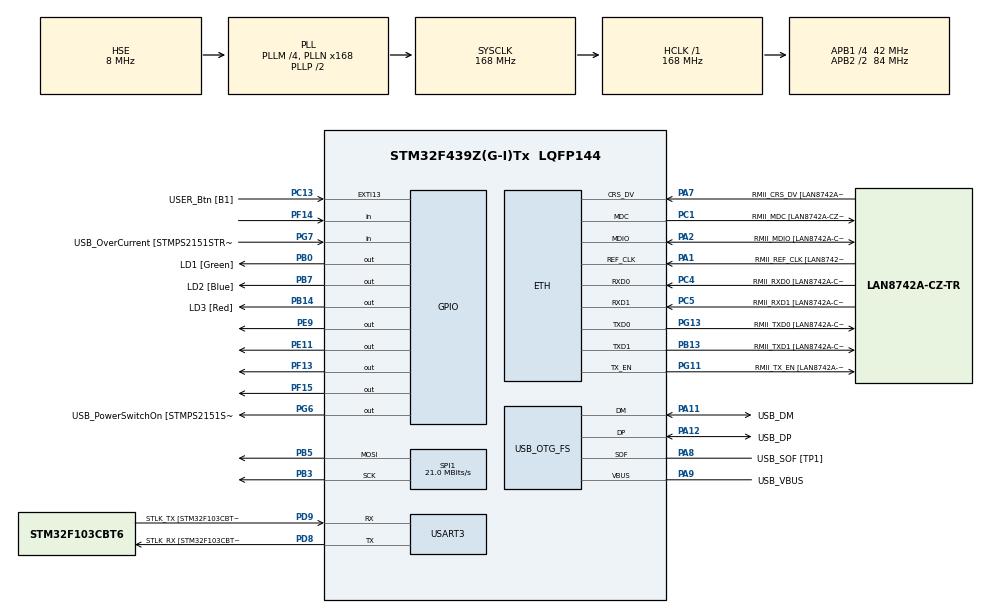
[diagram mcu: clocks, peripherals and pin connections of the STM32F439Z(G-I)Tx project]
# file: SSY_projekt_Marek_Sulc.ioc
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Dma.Request0=SPI1_TX
Dma.SPI1_TX.0.Direction=DMA_MEMORY_TO_PERIPH
Dma.SPI1_TX.0.FIFOMode=DMA_FIFOMODE_DISABLE
Dma.SPI1_TX.0.Instance=DMA2_Stream3
Dma.SPI1_TX.0.MemDataAlignment=DMA_MDATAALIGN_BYTE
Dma.SPI1_TX.0.MemInc=DMA_MINC_ENABLE
Dma.SPI1_TX.0.Mode=DMA_NORMAL
Dma.SPI1_TX.0.PeriphDataAlignment=DMA_PDATAALIGN_BYTE
Dma.SPI1_TX.0.PeriphInc=DMA_PINC_DISABLE
Dma.SPI1_TX.0.Priority=DMA_PRIORITY_LOW
ETH.MediaInterface=HAL_ETH_RMII_MODE
ETH.PHY_Name=LAN8742A_PHY_ADDRESS
ETH.PHY_Value=0
ETH.PhyAddress=0
LWIP.BSP.number=1
LWIP.DHCP_DOES_ARP_CHECK=0
LWIP.LWIP_DNS=1
LWIP.LWIP_RAW=1
LWIP.Version=v2.1.2_Cube
LWIP0.BSP.STBoard=false
LWIP0.BSP.api=BSP_COMPONENT_DRIVER
LWIP0.BSP.component=LAN8742
LWIP0.BSP.instance=LAN8742
LWIP0.BSP.name=Driver_PHY
LWIP0.BSP.semaphore=S_LAN8742
LWIP0.BSP.solution=LAN8742
Mcu.Family=STM32F4
Mcu.Name=STM32F439Z(G-I)Tx
Mcu.Package=LQFP144
NVIC.DMA2_Stream3_IRQn=true\:0\:0\:false\:false\:true\:false\:true\:true
NVIC.ETH_IRQn=true\:0\:0\:false\:false\:true\:true\:true\:true
NVIC.PriorityGroup=NVIC_PRIORITYGROUP_4
NVIC.USART3_IRQn=true\:0\:0\:false\:false\:true\:true\:true\:true
PA1.GPIO_Label=RMII_REF_CLK [LAN8742A-CZ-TR_REFCLK0]
PA1.Mode=RMII
PA1.Signal=ETH_REF_CLK
PA10.GPIO_Label=USB_ID
PA10.Signal=USB_OTG_FS_ID
PA11.GPIO_Label=USB_DM
PA11.Mode=Device_Only
PA11.Signal=USB_OTG_FS_DM
PA12.GPIO_Label=USB_DP
PA12.Mode=Device_Only
PA12.Signal=USB_OTG_FS_DP
PA13.GPIO_Label=TMS
PA13.Mode=Serial_Wire
PA13.Signal=SYS_JTMS-SWDIO
PA14.GPIO_Label=TCK
PA14.Mode=Serial_Wire
PA14.Signal=SYS_JTCK-SWCLK
PA2.GPIO_Label=RMII_MDIO [LAN8742A-CZ-TR_MDIO]
PA2.Mode=RMII
PA2.Signal=ETH_MDIO
PA7.GPIO_Label=RMII_CRS_DV [LAN8742A-CZ-TR_CRS_DV]
PA7.Mode=RMII
PA7.Signal=ETH_CRS_DV
PA8.GPIO_Label=USB_SOF [TP1]
PA8.Mode=Activate_SOF_FS
PA8.Signal=USB_OTG_FS_SOF
PA9.GPIO_Label=USB_VBUS
PA9.Mode=Activate_VBUS
PA9.Signal=USB_OTG_FS_VBUS
PB0.GPIO_Label=LD1 [Green]
PB0.Signal=GPIO_Output
PB13.GPIO_Label=RMII_TXD1 [LAN8742A-CZ-TR_TXD1]
PB13.Mode=RMII
PB13.Signal=ETH_TXD1
PB14.GPIO_Label=LD3 [Red]
PB14.Signal=GPIO_Output
PB3.Mode=TX_Only_Simplex_Unidirect_Master
PB3.Signal=SPI1_SCK
PB4.Signal=SPI1_MISO
PB5.Mode=TX_Only_Simplex_Unidirect_Master
PB5.Signal=SPI1_MOSI
PB7.GPIO_Label=LD2 [Blue]
PB7.Signal=GPIO_Output
PC1.GPIO_Label=RMII_MDC [LAN8742A-CZ-TR_MDC]
PC1.Mode=RMII
PC1.Signal=ETH_MDC
PC13.GPIO_Label=USER_Btn [B1]
PC13.Signal=GPXTI13
PC14/OSC32_IN.Signal=RCC_OSC32_IN
PC15/OSC32_OUT.Signal=RCC_OSC32_OUT
PC4.GPIO_Label=RMII_RXD0 [LAN8742A-CZ-TR_RXD0]
PC4.Mode=RMII
PC4.Signal=ETH_RXD0
PC5.GPIO_Label=RMII_RXD1 [LAN8742A-CZ-TR_RXD1]
PC5.Mode=RMII
PC5.Signal=ETH_RXD1
PD8.GPIO_Label=STLK_RX [STM32F103CBT6_PA3]
PD8.Mode=Asynchronous
PD8.Signal=USART3_TX
PD9.GPIO_Label=STLK_TX [STM32F103CBT6_PA2]
PD9.Mode=Asynchronous
PD9.Signal=USART3_RX
PE11.Signal=GPIO_Output
PE9.Signal=GPIO_Output
PF13.Signal=GPIO_Output
PF14.GPIO_PuPd=GPIO_PULLUP
PF14.Signal=GPIO_Input
PF15.Signal=GPIO_Output
PG11.GPIO_Label=RMII_TX_EN [LAN8742A-CZ-TR_TXEN]
PG11.Mode=RMII
PG11.Signal=ETH_TX_EN
PG13.GPIO_Label=RMII_TXD0 [LAN8742A-CZ-TR_TXD0]
PG13.Mode=RMII
PG13.Signal=ETH_TXD0
PG6.GPIO_Label=USB_PowerSwitchOn [STMPS2151STR_EN]
PG6.Signal=GPIO_Output
PG7.GPIO_Label=USB_OverCurrent [STMPS2151STR_FAULT]
PG7.Signal=GPIO_Input
PH0/OSC_IN.GPIO_Label=MCO [STM32F103CBT6_PA8]
PH0/OSC_IN.Mode=HSE-External-Oscillator
PH0/OSC_IN.Signal=RCC_OSC_IN
PH1/OSC_OUT.Mode=HSE-External-Oscillator
PH1/OSC_OUT.Signal=RCC_OSC_OUT
ProjectManager.HeapSize=0x200
ProjectManager.StackSize=0x400
ProjectManager.TargetToolchain=STM32CubeIDE
RCC.48MHZClocksFreq_Value=48000000
RCC.AHBFreq_Value=168000000
RCC.APB1CLKDivider=RCC_HCLK_DIV4
RCC.APB1Freq_Value=42000000
RCC.APB1TimFreq_Value=84000000
RCC.APB2CLKDivider=RCC_HCLK_DIV2
RCC.APB2Freq_Value=84000000
RCC.APB2TimFreq_Value=168000000
RCC.CortexFreq_Value=168000000
RCC.HCLKFreq_Value=168000000
RCC.HSE_VALUE=8000000
RCC.HSI_VALUE=16000000
RCC.LSE_VALUE=32768
RCC.PLLM=4
RCC.PLLMUL=RCC_PLL_MUL9
RCC.PLLN=168
RCC.PLLQ=7
RCC.PRESCALERUSB=RCC_USBCLKSOURCE_PLL_DIV1_5
RCC.SYSCLKFreq_VALUE=168000000
RCC.SYSCLKSource=RCC_SYSCLKSOURCE_PLLCLK
RCC.SYSCLKSourceVirtual=RCC_SYSCLKSOURCE_PLLCLK
RCC.USBFreq_Value=48000000
RCC.VCOOutputFreq_Value=336000000
SPI1.BaudRatePrescaler=SPI_BAUDRATEPRESCALER_4
SPI1.CalculateBaudRate=21.0 MBits/s
SPI1.Direction=SPI_DIRECTION_2LINES
SPI1.Mode=SPI_MODE_MASTER
SPI1.VirtualType=VM_MASTER
USART3.VirtualMode=VM_ASYNC
USB_OTG_FS.VirtualMode=Device_Only
VP_LWIP_VS_Enabled.Mode=Enabled
board=NUCLEO-F439ZI

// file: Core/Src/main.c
/* USER CODE BEGIN Header */
/**
  ******************************************************************************
  * @file           : main.c
  * @brief          : Main program body
  ******************************************************************************
  * @attention
  *
  * Copyright (c) 2026 STMicroelectronics.
  * All rights reserved.
  *
  * This software is licensed under terms that can be found in the LICENSE file
  * in the root directory of this software component.
  * If no LICENSE file comes with this software, it is provided AS-IS.
  *
  ******************************************************************************
  */
/* USER CODE END Header */
#include "main.h"
#include "lwip.h"

/* USER CODE BEGIN Includes */

#include "ssy_cli.h"
#include "lwip/raw.h"
#include "lwip/icmp.h"
#include "lwip/inet_chksum.h"
#include "lwip/ip4_addr.h"
#include "lwip/dhcp.h"
#include "lwip/prot/dhcp.h"
#include "mqtt_app.h"

// displej includy
#include "ILI9341_STM32_Driver.h"
#include "ILI9341_GFX.h"

/* USER CODE END Includes */

SPI_HandleTypeDef hspi1;
DMA_HandleTypeDef hdma_spi1_tx;

UART_HandleTypeDef huart3;

PCD_HandleTypeDef hpcd_USB_OTG_FS;

/* USER CODE BEGIN PV */
volatile uint8_t sensor_enabled = 0;
GPIO_PinState last_state = GPIO_PIN_RESET;
static uint32_t last_change_time = 0;

/* USER CODE END PV */

void SystemClock_Config(void);
static void MX_GPIO_Init(void);
static void MX_DMA_Init(void);
static void MX_USART3_UART_Init(void);
static void MX_USB_OTG_FS_PCD_Init(void);
static void MX_SPI1_Init(void);

/* USER CODE BEGIN 0 */

static struct raw_pcb *ping_pcb = NULL;
static uint16_t ping_seq_num = 0;

// 1. Tato funkce se zavolá SAMA, když desce přijde odpověď (Ping Reply)
static u8_t ping_recv_callback(void *arg, struct raw_pcb *pcb, struct pbuf *p, const ip_addr_t *addr) {
    struct icmp_echo_hdr *iecho = (struct icmp_echo_hdr *)p->payload;

    // Zkontrolujeme, jestli je to opravdu odpověď na Ping (ICMP_ER = Echo Reply)
    if (iecho->type == ICMP_ER) {
        CLI_UART_Printf("\r\n[PING] Odpoved zpatky prijata!\r\n> ");
        pbuf_free(p);
        return 1; // Zpracováno
    }
    return 0;
}

// 2. Tato funkce vytvoří a odešle Ping
void Odesli_Ping(uint8_t ip1, uint8_t ip2, uint8_t ip3, uint8_t ip4) {
    ip_addr_t target_ip;
    IP_ADDR4(&target_ip, ip1, ip2, ip3, ip4);

    // Vytvoření "socketu" pro ICMP (pokud ještě neexistuje)
    if (ping_pcb == NULL) {
        ping_pcb = raw_new(IP_PROTO_ICMP);
        raw_recv(ping_pcb, ping_recv_callback, NULL);
        raw_bind(ping_pcb, IP_ADDR_ANY);
    }

    // Alokace paměti pro paket
    struct pbuf *p = pbuf_alloc(PBUF_IP, sizeof(struct icmp_echo_hdr), PBUF_RAM);
    if (!p) return;

    // Vyplnění hlavičky ICMP (Ping žádost)
    struct icmp_echo_hdr *iecho = (struct icmp_echo_hdr *)p->payload;
    iecho->type = ICMP_ECHO;
    iecho->code = 0;
    iecho->chksum = 0;
    iecho->id = 0xAFAF;
    iecho->seqno = lwip_htons(++ping_seq_num);

    // Výpočet kontrolního součtu (nutné, jinak to PC zahodí)
    iecho->chksum = inet_chksum(iecho, sizeof(struct icmp_echo_hdr));

    // Odeslání
    raw_sendto(ping_pcb, p, &target_ip);
    pbuf_free(p);

    CLI_UART_Printf("Ping odeslan na %d.%d.%d.%d...\r\n", ip1, ip2, ip3, ip4);
}

extern struct netif gnetif; // Tohle je tvoje síťovka v LwIP

// Funkce pro výpis aktuálního stavu do terminálu
void Vypis_IP_Status(void) {
    if (dhcp_supplied_address(&gnetif)) {
        CLI_UART_Printf("\r\n--- SIFROVANY STATUS ---\r\n");
        CLI_UART_Printf("Rezim: DHCP (Prideleno)\r\n");
    } else if (gnetif.flags & NETIF_FLAG_UP) {
        CLI_UART_Printf("\r\n--- SIFROVANY STATUS ---\r\n");
        CLI_UART_Printf("Rezim: STATICKA IP\r\n");
    } else {
        CLI_UART_Printf("Sit neni pripravena.\r\n");
        return;
    }

    // Převedeme IP adresy na text a vypíšeme
    CLI_UART_Printf("IP:      %s\r\n", ip4addr_ntoa(netif_ip4_addr(&gnetif)));
    CLI_UART_Printf("Maska:   %s\r\n", ip4addr_ntoa(netif_ip4_netmask(&gnetif)));
    CLI_UART_Printf("Brana:   %s\r\n", ip4addr_ntoa(netif_ip4_gw(&gnetif)));
    CLI_UART_Printf("------------------------\r\n");
}

// Funkce pro samotnou zmenu nastaveni
void Nastav_IP(uint8_t dhcp_on, uint8_t ip1, uint8_t ip2, uint8_t ip3, uint8_t ip4) {
    ip_addr_t ipaddr, netmask, gw;

    // 1. Shození sítě (Totální stopka)
    dhcp_stop(&gnetif);
    netif_set_down(&gnetif);
    netif_set_link_down(&gnetif);

    if (dhcp_on) {
        CLI_UART_Printf("Zousim DHCP...\r\n");
        ip_addr_set_zero(&ipaddr);
        ip_addr_set_zero(&netmask);
        ip_addr_set_zero(&gw);
    } else {
        IP4_ADDR(&ipaddr, ip1, ip2, ip3, ip4);
        IP4_ADDR(&netmask, 255, 255, 255, 0);
        IP4_ADDR(&gw, ip1, ip2, ip3, 1);
        CLI_UART_Printf("Nastavuji statiku: %d.%d.%d.%d\r\n", ip1, ip2, ip3, ip4);
    }

    // 2. Zápis adres a nahození hardwaru
    netif_set_addr(&gnetif, &ipaddr, &netmask, &gw);
    netif_set_up(&gnetif);
    netif_set_link_up(&gnetif); // Tohle vynutí, aby čip začal komunikovat

    if (dhcp_on) {
        dhcp_start(&gnetif);
    }
}

void Sensor_Process(void)
{
    if (!sensor_enabled) return;

    GPIO_PinState current = HAL_GPIO_ReadPin(GPIOF, GPIO_PIN_14);

    if (current != last_state) {

        // debounce (100 ms)
        if (HAL_GetTick() - last_change_time > 100) {

            last_change_time = HAL_GetTick();
            last_state = current;

            if (current == GPIO_PIN_RESET) {
                MQTT_Publish("mqtt/4", "DETECTED");
                CLI_UART_Printf("[SENZOR] DETECTED\r\n");
            } else {
                MQTT_Publish("mqtt/4", "CLEAR");
                CLI_UART_Printf("[SENZOR] CLEAR\r\n");
            }
        }
    }
}

/* USER CODE END 0 */

int main(void)
{

  /* MCU Configuration--------------------------------------------------------*/

  /* Reset of all peripherals, Initializes the Flash interface and the Systick. */
  HAL_Init();

  /* Configure the system clock */
  SystemClock_Config();

  /* Initialize all configured peripherals */
  MX_GPIO_Init();
  MX_DMA_Init();
  MX_USART3_UART_Init();
  MX_USB_OTG_FS_PCD_Init();
  MX_LWIP_Init();
  MX_SPI1_Init();
  /* USER CODE BEGIN 2 */

  // Tímto se vypíše uvítací zpráva a zapne se poslech přijímaných znaků
    CLI_UART_Init();
    ILI9341_Init();

    ILI9341_FillScreen(BLACK);
    //ILI9341_SetRotation(SCREEN_VERTICAL_1);
    //ILI9341_DrawText("Hello Word", FONT1, 90, 110, WHITE, BLACK);
    //HAL_Delay(1000);

  /* USER CODE END 2 */

  /* Infinite loop */
  /* USER CODE BEGIN WHILE */
  while (1)
  {
	  MX_LWIP_Process();

	  CLI_UART_Process();

	  MQTT_Process();

	  Sensor_Process();

    /* USER CODE END WHILE */

  }
}

void SystemClock_Config(void)
{
  RCC_OscInitTypeDef RCC_OscInitStruct = {0};
  RCC_ClkInitTypeDef RCC_ClkInitStruct = {0};

  /** Configure the main internal regulator output voltage
  */
  __HAL_RCC_PWR_CLK_ENABLE();
  __HAL_PWR_VOLTAGESCALING_CONFIG(PWR_REGULATOR_VOLTAGE_SCALE1);

  /** Initializes the RCC Oscillators according to the specified parameters
  * in the RCC_OscInitTypeDef structure.
  */
  RCC_OscInitStruct.OscillatorType = RCC_OSCILLATORTYPE_HSE;
  RCC_OscInitStruct.HSEState = RCC_HSE_ON;
  RCC_OscInitStruct.PLL.PLLState = RCC_PLL_ON;
  RCC_OscInitStruct.PLL.PLLSource = RCC_PLLSOURCE_HSE;
  RCC_OscInitStruct.PLL.PLLM = 4;
  RCC_OscInitStruct.PLL.PLLN = 168;
  RCC_OscInitStruct.PLL.PLLP = RCC_PLLP_DIV2;
  RCC_OscInitStruct.PLL.PLLQ = 7;
  if (HAL_RCC_OscConfig(&RCC_OscInitStruct) != HAL_OK)
  {
    Error_Handler();
  }

  /** Initializes the CPU, AHB and APB buses clocks
  */
  RCC_ClkInitStruct.ClockType = RCC_CLOCKTYPE_HCLK|RCC_CLOCKTYPE_SYSCLK
                              |RCC_CLOCKTYPE_PCLK1|RCC_CLOCKTYPE_PCLK2;
  RCC_ClkInitStruct.SYSCLKSource = RCC_SYSCLKSOURCE_PLLCLK;
  RCC_ClkInitStruct.AHBCLKDivider = RCC_SYSCLK_DIV1;
  RCC_ClkInitStruct.APB1CLKDivider = RCC_HCLK_DIV4;
  RCC_ClkInitStruct.APB2CLKDivider = RCC_HCLK_DIV2;

  if (HAL_RCC_ClockConfig(&RCC_ClkInitStruct, FLASH_LATENCY_5) != HAL_OK)
  {
    Error_Handler();
  }
}

static void MX_SPI1_Init(void)
{

  /* SPI1 parameter configuration*/
  hspi1.Instance = SPI1;
  hspi1.Init.Mode = SPI_MODE_MASTER;
  hspi1.Init.Direction = SPI_DIRECTION_2LINES;
  hspi1.Init.DataSize = SPI_DATASIZE_8BIT;
  hspi1.Init.CLKPolarity = SPI_POLARITY_LOW;
  hspi1.Init.CLKPhase = SPI_PHASE_1EDGE;
  hspi1.Init.NSS = SPI_NSS_SOFT;
  hspi1.Init.BaudRatePrescaler = SPI_BAUDRATEPRESCALER_4;
  hspi1.Init.FirstBit = SPI_FIRSTBIT_MSB;
  hspi1.Init.TIMode = SPI_TIMODE_DISABLE;
  hspi1.Init.CRCCalculation = SPI_CRCCALCULATION_DISABLE;
  hspi1.Init.CRCPolynomial = 10;
  if (HAL_SPI_Init(&hspi1) != HAL_OK)
  {
    Error_Handler();
  }

}

static void MX_USART3_UART_Init(void)
{

  huart3.Instance = USART3;
  huart3.Init.BaudRate = 115200;
  huart3.Init.WordLength = UART_WORDLENGTH_8B;
  huart3.Init.StopBits = UART_STOPBITS_1;
  huart3.Init.Parity = UART_PARITY_NONE;
  huart3.Init.Mode = UART_MODE_TX_RX;
  huart3.Init.HwFlowCtl = UART_HWCONTROL_NONE;
  huart3.Init.OverSampling = UART_OVERSAMPLING_16;
  if (HAL_UART_Init(&huart3) != HAL_OK)
  {
    Error_Handler();
  }

}

static void MX_USB_OTG_FS_PCD_Init(void)
{

  hpcd_USB_OTG_FS.Instance = USB_OTG_FS;
  hpcd_USB_OTG_FS.Init.dev_endpoints = 4;
  hpcd_USB_OTG_FS.Init.speed = PCD_SPEED_FULL;
  hpcd_USB_OTG_FS.Init.dma_enable = DISABLE;
  hpcd_USB_OTG_FS.Init.phy_itface = PCD_PHY_EMBEDDED;
  hpcd_USB_OTG_FS.Init.Sof_enable = ENABLE;
  hpcd_USB_OTG_FS.Init.low_power_enable = DISABLE;
  hpcd_USB_OTG_FS.Init.lpm_enable = DISABLE;
  hpcd_USB_OTG_FS.Init.vbus_sensing_enable = ENABLE;
  hpcd_USB_OTG_FS.Init.use_dedicated_ep1 = DISABLE;
  if (HAL_PCD_Init(&hpcd_USB_OTG_FS) != HAL_OK)
  {
    Error_Handler();
  }

}

static void MX_DMA_Init(void)
{

  /* DMA controller clock enable */
  __HAL_RCC_DMA2_CLK_ENABLE();

  /* DMA interrupt init */
  /* DMA2_Stream3_IRQn interrupt configuration */
  HAL_NVIC_SetPriority(DMA2_Stream3_IRQn, 0, 0);
  HAL_NVIC_EnableIRQ(DMA2_Stream3_IRQn);

}

static void MX_GPIO_Init(void)
{
  GPIO_InitTypeDef GPIO_InitStruct = {0};

  /* GPIO Ports Clock Enable */
  __HAL_RCC_GPIOC_CLK_ENABLE();
  __HAL_RCC_GPIOH_CLK_ENABLE();
  __HAL_RCC_GPIOA_CLK_ENABLE();
  __HAL_RCC_GPIOB_CLK_ENABLE();
  __HAL_RCC_GPIOF_CLK_ENABLE();
  __HAL_RCC_GPIOE_CLK_ENABLE();
  __HAL_RCC_GPIOD_CLK_ENABLE();
  __HAL_RCC_GPIOG_CLK_ENABLE();

  /*Configure GPIO pin Output Level */
  HAL_GPIO_WritePin(GPIOB, LD1_Pin|LD3_Pin|LD2_Pin, GPIO_PIN_RESET);

  /*Configure GPIO pin Output Level */
  HAL_GPIO_WritePin(GPIOF, GPIO_PIN_13|GPIO_PIN_15, GPIO_PIN_RESET);

  /*Configure GPIO pin Output Level */
  HAL_GPIO_WritePin(GPIOE, GPIO_PIN_9|GPIO_PIN_11, GPIO_PIN_RESET);

  /*Configure GPIO pin Output Level */
  HAL_GPIO_WritePin(USB_PowerSwitchOn_GPIO_Port, USB_PowerSwitchOn_Pin, GPIO_PIN_RESET);

  /*Configure GPIO pin : USER_Btn_Pin */
  GPIO_InitStruct.Pin = USER_Btn_Pin;
  GPIO_InitStruct.Mode = GPIO_MODE_IT_RISING;
  GPIO_InitStruct.Pull = GPIO_NOPULL;
  HAL_GPIO_Init(USER_Btn_GPIO_Port, &GPIO_InitStruct);

  /*Configure GPIO pins : LD1_Pin LD3_Pin LD2_Pin */
  GPIO_InitStruct.Pin = LD1_Pin|LD3_Pin|LD2_Pin;
  GPIO_InitStruct.Mode = GPIO_MODE_OUTPUT_PP;
  GPIO_InitStruct.Pull = GPIO_NOPULL;
  GPIO_InitStruct.Speed = GPIO_SPEED_FREQ_LOW;
  HAL_GPIO_Init(GPIOB, &GPIO_InitStruct);

  /*Configure GPIO pins : PF13 PF15 */
  GPIO_InitStruct.Pin = GPIO_PIN_13|GPIO_PIN_15;
  GPIO_InitStruct.Mode = GPIO_MODE_OUTPUT_PP;
  GPIO_InitStruct.Pull = GPIO_NOPULL;
  GPIO_InitStruct.Speed = GPIO_SPEED_FREQ_LOW;
  HAL_GPIO_Init(GPIOF, &GPIO_InitStruct);

  /*Configure GPIO pin : PF14 */
  GPIO_InitStruct.Pin = GPIO_PIN_14;
  GPIO_InitStruct.Mode = GPIO_MODE_INPUT;
  GPIO_InitStruct.Pull = GPIO_PULLUP;
  HAL_GPIO_Init(GPIOF, &GPIO_InitStruct);

  /*Configure GPIO pins : PE9 PE11 */
  GPIO_InitStruct.Pin = GPIO_PIN_9|GPIO_PIN_11;
  GPIO_InitStruct.Mode = GPIO_MODE_OUTPUT_PP;
  GPIO_InitStruct.Pull = GPIO_NOPULL;
  GPIO_InitStruct.Speed = GPIO_SPEED_FREQ_LOW;
  HAL_GPIO_Init(GPIOE, &GPIO_InitStruct);

  /*Configure GPIO pin : USB_PowerSwitchOn_Pin */
  GPIO_InitStruct.Pin = USB_PowerSwitchOn_Pin;
  GPIO_InitStruct.Mode = GPIO_MODE_OUTPUT_PP;
  GPIO_InitStruct.Pull = GPIO_NOPULL;
  GPIO_InitStruct.Speed = GPIO_SPEED_FREQ_LOW;
  HAL_GPIO_Init(USB_PowerSwitchOn_GPIO_Port, &GPIO_InitStruct);

  /*Configure GPIO pin : USB_OverCurrent_Pin */
  GPIO_InitStruct.Pin = USB_OverCurrent_Pin;
  GPIO_InitStruct.Mode = GPIO_MODE_INPUT;
  GPIO_InitStruct.Pull = GPIO_NOPULL;
  HAL_GPIO_Init(USB_OverCurrent_GPIO_Port, &GPIO_InitStruct);

}

void Error_Handler(void)
{
  __disable_irq();
  while (1)
  {
  }
}
